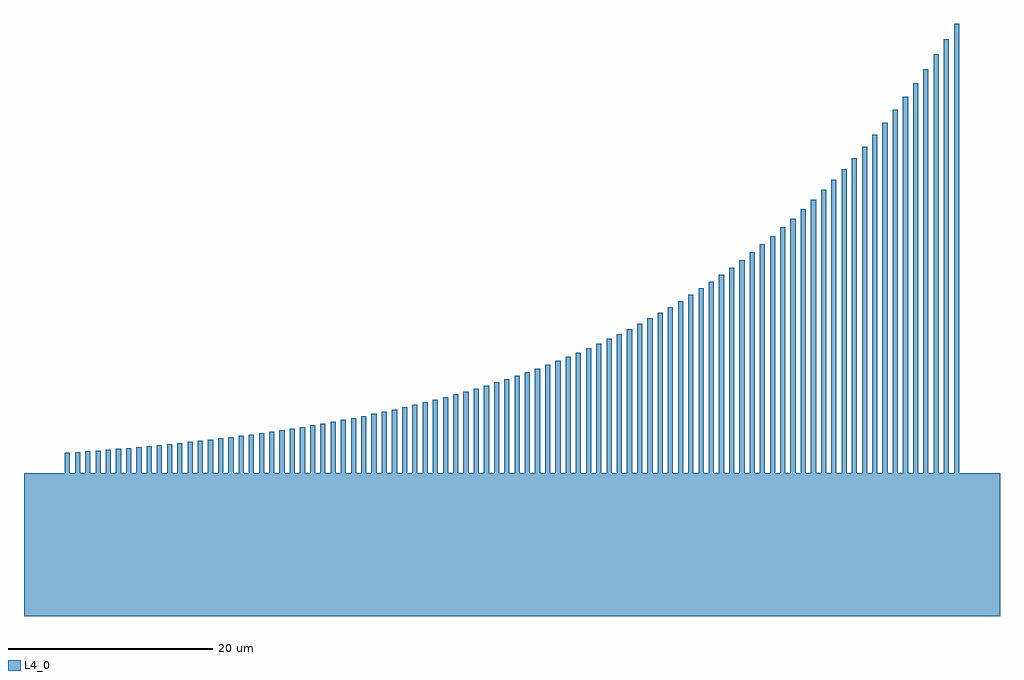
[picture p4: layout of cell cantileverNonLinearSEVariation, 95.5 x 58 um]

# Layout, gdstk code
import gdstk
lib = gdstk.Library(unit=1e-6, precision=1e-09)
def R(c, l, rs):  # rectangles x0, y0, x1, y1
    for r in rs: c.add(gdstk.rectangle(r[:2], r[2:], *l))
L4_0 = (4, 0)

cantilevernonlinearsevar = lib.new_cell('cantileverNonLinearSEVariation')
R(cantilevernonlinearsevar, L4_0, [(0,0,95.5,14), (4,14,4.5,16), (5,14,5.5,16.072), (6,14,6.5,16.147), (7,14,7.5,16.225), (8,14,8.5,16.305), (9,14,9.5,16.389), (10,14,10.5,16.475), (11,14,11.5,16.565), (12,14,12.5,16.657), (13,14,13.5,16.754), (14,14,14.5,16.853), (15,14,15.5,16.956), (16,14,16.5,17.063), (17,14,17.5,17.174), (18,14,18.5,17.289), (19,14,19.5,17.408), (20,14,20.5,17.531), (21,14,21.5,17.659), (22,14,22.5,17.791), (23,14,23.5,17.928), (24,14,24.5,18.07), (25,14,25.5,18.218), (26,14,26.5,18.37), (27,14,27.5,18.528), (28,14,28.5,18.692), (29,14,29.5,18.862), (30,14,30.5,19.037), (31,14,31.5,19.22), (32,14,32.5,19.408), (33,14,33.5,19.604), (34,14,34.5,19.807), (35,14,35.5,20.017), (36,14,36.5,20.234), (37,14,37.5,20.46), (38,14,38.5,20.694), (39,14,39.5,20.936), (40,14,40.5,21.186), (41,14,41.5,21.446), (42,14,42.5,21.716), (43,14,43.5,21.995), (44,14,44.5,22.284), (45,14,45.5,22.584), (46,14,46.5,22.894), (47,14,47.5,23.216), (48,14,48.5,23.549), (49,14,49.5,23.894), (50,14,50.5,24.252), (51,14,51.5,24.623), (52,14,52.5,25.007), (53,14,53.5,25.405), (54,14,54.5,25.818), (55,14,55.5,26.245), (56,14,56.5,26.688), (57,14,57.5,27.147), (58,14,58.5,27.623), (59,14,59.5,28.115), (60,14,60.5,28.626), (61,14,61.5,29.155), (62,14,62.5,29.703), (63,14,63.5,30.271), (64,14,64.5,30.859), (65,14,65.5,31.469), (66,14,66.5,32.101), (67,14,67.5,32.756), (68,14,68.5,33.434), (69,14,69.5,34.137), (70,14,70.5,34.865), (71,14,71.5,35.62), (72,14,72.5,36.402), (73,14,73.5,37.212), (74,14,74.5,38.051), (75,14,75.5,38.921), (76,14,76.5,39.823), (77,14,77.5,40.757), (78,14,78.5,41.724), (79,14,79.5,42.727), (80,14,80.5,43.766), (81,14,81.5,44.843), (82,14,82.5,45.958), (83,14,83.5,47.114), (84,14,84.5,48.312), (85,14,85.5,49.553), (86,14,86.5,50.839), (87,14,87.5,52.171), (88,14,88.5,53.551), (89,14,89.5,54.982), (90,14,90.5,56.464), (91,14,91.5,58)])

lib.write_gds('cantileverNonLinearSEVariation.gds')
